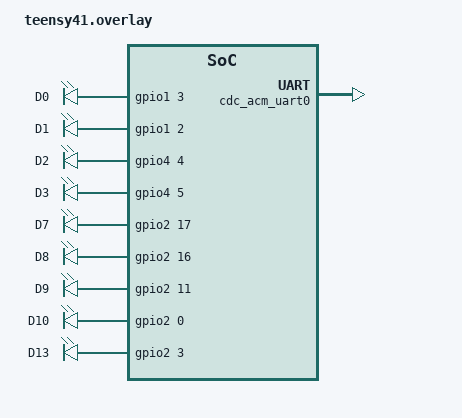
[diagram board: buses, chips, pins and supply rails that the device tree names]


/ {
    pins {
      compatible = "gpio-leds";
      D0: D0 { gpios = <&gpio1 3 0>; };
      D1: D1 { gpios = <&gpio1 2 0>; };
      D2: D2 { gpios = <&gpio4 4 0>; };
      D3: D3 { gpios = <&gpio4 5 0>; };
      
      D7: D7 { gpios = <&gpio2 17 0>; };
      D8: D8 { gpios = <&gpio2 16 0>; };
      D9: D9 { gpios = <&gpio2 11 0>; };
      D10: D10 { gpios = <&gpio2 0 0>; };
      
      D13: D13 { gpios = <&gpio2 3 0>; };
    };

    aliases {
      led0 = &D2;
      led1 = &D3;
      led2 = &D7;
      led3 = &D8;
    };

    chosen {
      zephyr,shell-uart = &cdc_acm_uart0;
    };
};


&zephyr_udc0 {
  cdc_acm_uart0: cdc_acm_uart0 {
    compatible = "zephyr,cdc-acm-uart";
    label = "CDC_ACM_0";
  };
};
